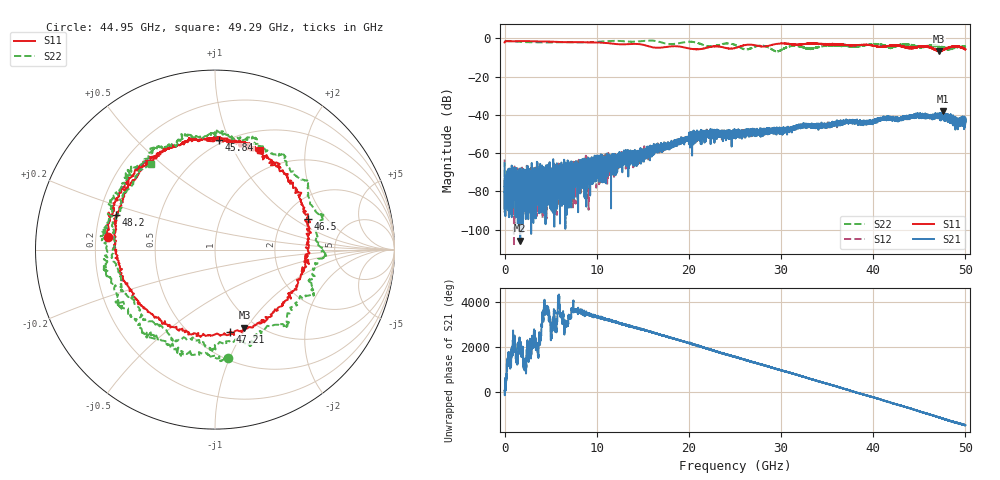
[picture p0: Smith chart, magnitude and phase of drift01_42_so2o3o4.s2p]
!Created with skrf (http://scikit-rf.org).
# Hz S RI R 50.0
!freq ReS11 ImS11 ReS21 ImS21 ReS12 ImS12 ReS22 ImS22
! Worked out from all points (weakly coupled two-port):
!   10001 points, 300 kHz to 50 GHz, reference 50 ohm
!   highest |S21| = -38.15 dB at 47.59 GHz (marker M1); lowest = -105.7 dB at 1.695 GHz (marker M2)
!   lowest |S11| = -6.7 dB at 47.15 GHz (marker M3), VSWR 2.74, Z = 44.2 - j49 ohm
!   |S11| at or under -10 dB: nowhere
!   |S22| runs from -6.8 to -1.0 dB; largest |S21 - S12| = 0.0039
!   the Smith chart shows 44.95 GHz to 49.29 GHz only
!   S11 on the Smith chart (normalised r, x): 44.95 GHz: 0.25, +0.05; 45.84 GHz: 0.47, +0.92; 46.5 GHz: 2.66, +1.31; 47.21 GHz: 0.75, -0.88; 48.2 GHz: 0.27, +0.16; 49.29 GHz: 0.72, +1.28
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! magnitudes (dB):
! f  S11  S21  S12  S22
! 300 kHz  -2.1  -65.4  -63.3  -1.3
! 260.3 MHz  -1.4  -69.4  -69.8  -1.4
! 1.695 GHz  -1.4  -105.7  -72.1  -1.8
! 6.49 GHz  -1.9  -86.7  -68.2  -1.9
! 8.335 GHz  -2.0  -68.8  -65.6  -2.1
! 16.67 GHz  -4.8  -59.1  -57.5  -1.6
! 21.91 GHz  -4.9  -50.0  -50.9  -4.0
! 25 GHz  -5.0  -48.8  -50.5  -3.4
! 28.09 GHz  -4.3  -48.7  -48.8  -3.8
! 29.52 GHz  -2.8  -48.2  -46.7  -6.7
! 31.27 GHz  -3.1  -47.0  -47.5  -4.0
! 33.34 GHz  -2.6  -46.8  -45.2  -5.3
! 41.67 GHz  -3.9  -40.8  -41.9  -4.5
! 44.95 GHz  -4.5  -39.6  -40.3  -4.3
! 45.84 GHz  -4.3  -39.9  -40.4  -4.2
! 46.5 GHz  -5.3  -41.3  -40.9  -3.8
! 47.15 GHz  -6.7  -40.8  -40.0  -4.0
! 47.21 GHz  -6.6  -40.6  -40.2  -4.6
! 47.59 GHz  -6.0  -38.1  -40.8  -4.7
! 48.2 GHz  -4.7  -41.2  -41.8  -5.7
! 49.29 GHz  -4.3  -45.1  -43.8  -4.5
! 50 GHz  -5.7  -41.7  -42.0  -4.3
